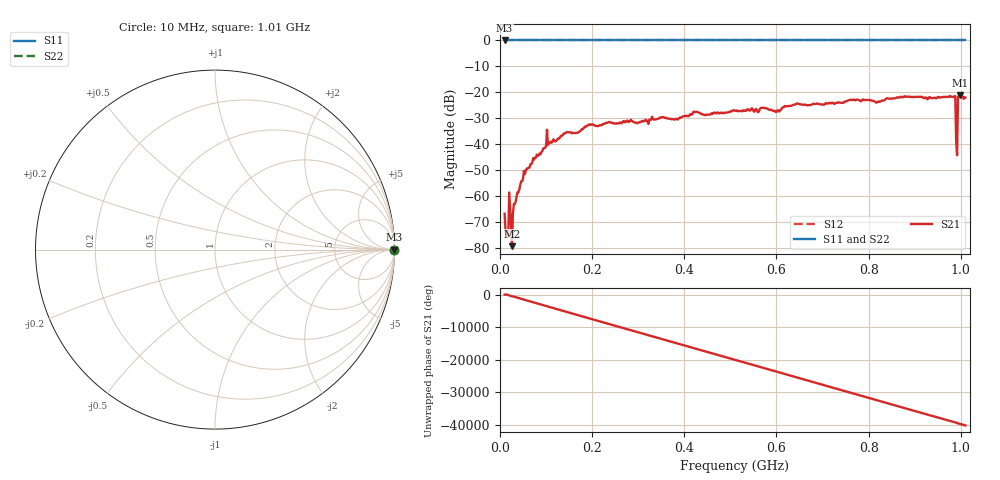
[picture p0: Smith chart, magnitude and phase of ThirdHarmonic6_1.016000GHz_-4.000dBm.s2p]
! 8/16/2025 8:26:23 AM
! C:\ANRITSUVNA\TEMP\TEMP.S2P
! CHANNEL.1
! TR.MEASUREMENT
! RAW.DATA
! RF.CORRECTION.OFF
! AVERAGING.OFF
! IF.BANDWIDTH: 5KHZ
! SWEEPTYPE:  FREQ.SWEEP(Linear)
! Reference Plane Port Info
! PORT:  PORT1  PORT2
! DISTANCE:  0  m  0  m
! TIME:  0  s  0  s
! PHASE.OFFSET:  0  deg.  0  deg.
! LOSS:  0  dB  0  dB
! REF.LOSS:  0  dB  0  dB
! REF.FREQ:  0  Hz  0  Hz
! Power Info
! POWER:  -20  dBm  -20  dBm
! EFF.POWER:  -20  dBm  -20  dBm
! SOURCE.ATTEN:  0  dB  0  dB
! TEST.ATTEN:  0  dB  0  dB
# GHZ S RI R 50.0
! FREQ.GHZ  S11RE  S11IM  S21RE  S21IM  S12RE  S12IM  S22RE  S22IM
!; PortSelection: Port_12
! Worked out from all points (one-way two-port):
!   501 points, 10 MHz to 1.01 GHz, reference 50 ohm
!   highest |S21| = -21.18 dB at 998 MHz (marker M1); lowest = -79.4 dB at 26 MHz (marker M2)
!   lowest |S11| = 0.0 dB at 10 MHz (marker M3)
!   |S11| at or under -10 dB: nowhere
!   |S22| runs from 0.0 to 0.0 dB; largest |S21 - S12| = 1.1
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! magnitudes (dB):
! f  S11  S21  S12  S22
! 10 MHz  0.0  -66.9  0.0  0.0
! 14 MHz  0.0  -75.0  0.0  0.0
! 20 MHz  0.0  -58.7  0.0  0.0
! 26 MHz  0.0  -79.4  0.0  0.0
! 30 MHz  0.0  -63.2  0.0  0.0
! 34 MHz  0.0  -62.3  0.0  0.0
! 54 MHz  0.0  -51.6  0.0  0.0
! 98 MHz  0.0  -41.5  0.0  0.0
! 178 MHz  0.0  -34.2  0.0  0.0
! 196 MHz  0.0  -32.6  0.0  0.0
! 344 MHz  0.0  -30.2  0.0  0.0
! 510 MHz  0.0  -27.1  0.0  0.0
! 602 MHz  0.0  -27.0  0.0  0.0
! 644 MHz  0.0  -24.4  0.0  0.0
! 678 MHz  0.0  -24.6  0.0  0.0
! 844 MHz  0.0  -22.5  0.0  0.0
! 984 MHz  0.0  -21.7  0.0  0.0
! 988 MHz  0.0  -21.5  0.0  0.0
! 990 MHz  0.0  -39.2  0.0  0.0
! 994 MHz  0.0  -21.8  0.0  0.0
! 998 MHz  0.0  -21.2  0.0  0.0
! 1.01 GHz  0.0  -22.1  0.0  0.0
